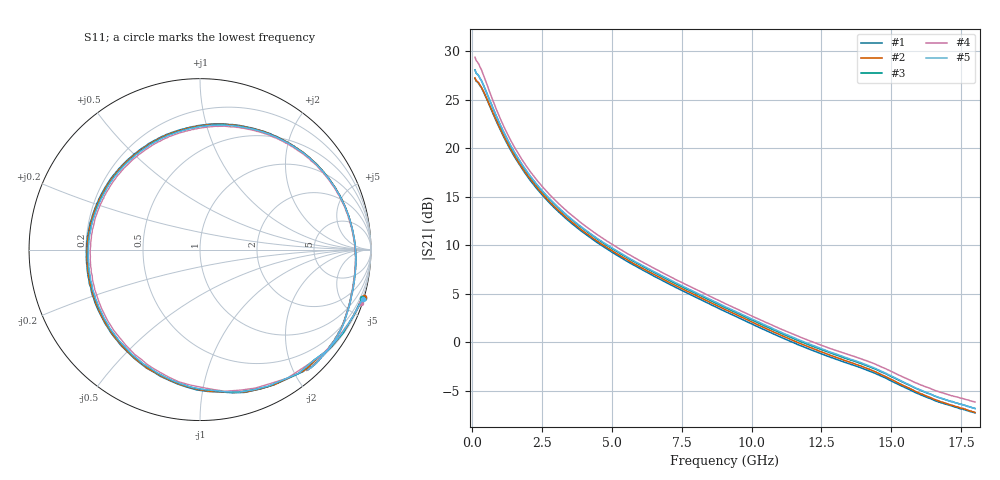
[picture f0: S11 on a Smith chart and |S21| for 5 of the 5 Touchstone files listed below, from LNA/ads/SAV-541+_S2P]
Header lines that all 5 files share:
! Data provided by Modelithics, Inc.  Tampa, Florida USA, June 2008
!Model SAV-541+
!BEGIN ACDATA
# GHZ S MA R 50
! Scattering Parameters
!% F n11x n11y n21x n21y n12x n12y n22x n22y
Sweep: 100 MHz to 18 GHz
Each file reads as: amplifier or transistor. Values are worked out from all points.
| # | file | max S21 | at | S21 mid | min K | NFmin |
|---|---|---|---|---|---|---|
| 1 | SAV_541_S2_2V_30mA.s2p | 27.2 dB | 100 MHz | 3.1 dB at 9.05 GHz | 0.04 | 0.10 dB |
| 2 | SAV_541_S2_3V_30mA.s2p | 27.2 dB | 100 MHz | 3.3 dB at 9.05 GHz | 0.04 | 0.08 dB |
| 3 | SAV_541_S2_3V_40mA.s2p | 28.1 dB | 100 MHz | 3.5 dB at 9.05 GHz | -0.04 | 0.07 dB |
| 4 | SAV_541_S2_3V_80mA.s2p | 29.4 dB | 100 MHz | 4.0 dB at 9.05 GHz | 0.01 | 0.09 dB |
| 5 | SAV_541_S2_4V_40mA.s2p | 28.0 dB | 100 MHz | 3.7 dB at 9.05 GHz | 0.02 | 0.07 dB |
